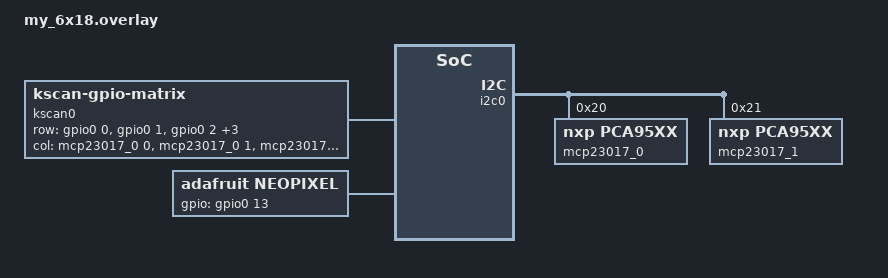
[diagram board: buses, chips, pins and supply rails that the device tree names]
/ {
    compatible = "zmk,keyboard-shield";

    chosen {
        zmk,kscan = &kscan0;
        zmk,backlight = &neopixel0;
    };

    /* ----------------- Keyboard Matrix ----------------- */
    kscan0: kscan {
        compatible = "zmk,kscan-gpio-matrix";
        diode-direction = "col2row";

        /* 6 rows on GPIO0 */
        row-gpios = <&gpio0 0 GPIO_ACTIVE_HIGH>,
                    <&gpio0 1 GPIO_ACTIVE_HIGH>,
                    <&gpio0 2 GPIO_ACTIVE_HIGH>,
                    <&gpio0 3 GPIO_ACTIVE_HIGH>,
                    <&gpio0 4 GPIO_ACTIVE_HIGH>,
                    <&gpio0 5 GPIO_ACTIVE_HIGH>;

        /* 18 columns using 2x MCP23017 */
        col-gpios = 
            <&mcp23017_0 0 GPIO_ACTIVE_HIGH>, <&mcp23017_0 1 GPIO_ACTIVE_HIGH>,
            <&mcp23017_0 2 GPIO_ACTIVE_HIGH>, <&mcp23017_0 3 GPIO_ACTIVE_HIGH>,
            <&mcp23017_0 4 GPIO_ACTIVE_HIGH>, <&mcp23017_0 5 GPIO_ACTIVE_HIGH>,
            <&mcp23017_0 6 GPIO_ACTIVE_HIGH>, <&mcp23017_0 7 GPIO_ACTIVE_HIGH>,
            <&mcp23017_1 0 GPIO_ACTIVE_HIGH>, <&mcp23017_1 1 GPIO_ACTIVE_HIGH>,
            <&mcp23017_1 2 GPIO_ACTIVE_HIGH>, <&mcp23017_1 3 GPIO_ACTIVE_HIGH>,
            <&mcp23017_1 4 GPIO_ACTIVE_HIGH>, <&mcp23017_1 5 GPIO_ACTIVE_HIGH>,
            <&mcp23017_1 6 GPIO_ACTIVE_HIGH>, <&mcp23017_1 7 GPIO_ACTIVE_HIGH>,
            <&mcp23017_1 8 GPIO_ACTIVE_HIGH>, <&mcp23017_1 9 GPIO_ACTIVE_HIGH>;
    };

    /* ----------------- Per-Key LED ----------------- */
    neopixel0: neopixel {
        compatible = "adafruit,neopixel";
        gpios = <&gpio0 13 GPIO_ACTIVE_HIGH>;
        #led-cells = <1>;
        label = "NEOPIXEL";
        status = "okay";
        count = <108>; /* 6x18 = 108 keys */
    };
};

/* ----------------- I2C Bus ----------------- */
&i2c0 {
    status = "okay";

    mcp23017_0: mcp23017@20 {
        compatible = "nxp,pca95xx";
        reg = <0x20>;
        gpio-controller;
        #gpio-cells = <2>;
    };

    mcp23017_1: mcp23017@21 {
        compatible = "nxp,pca95xx";
        reg = <0x21>;
        gpio-controller;
        #gpio-cells = <2>;
    };
};
